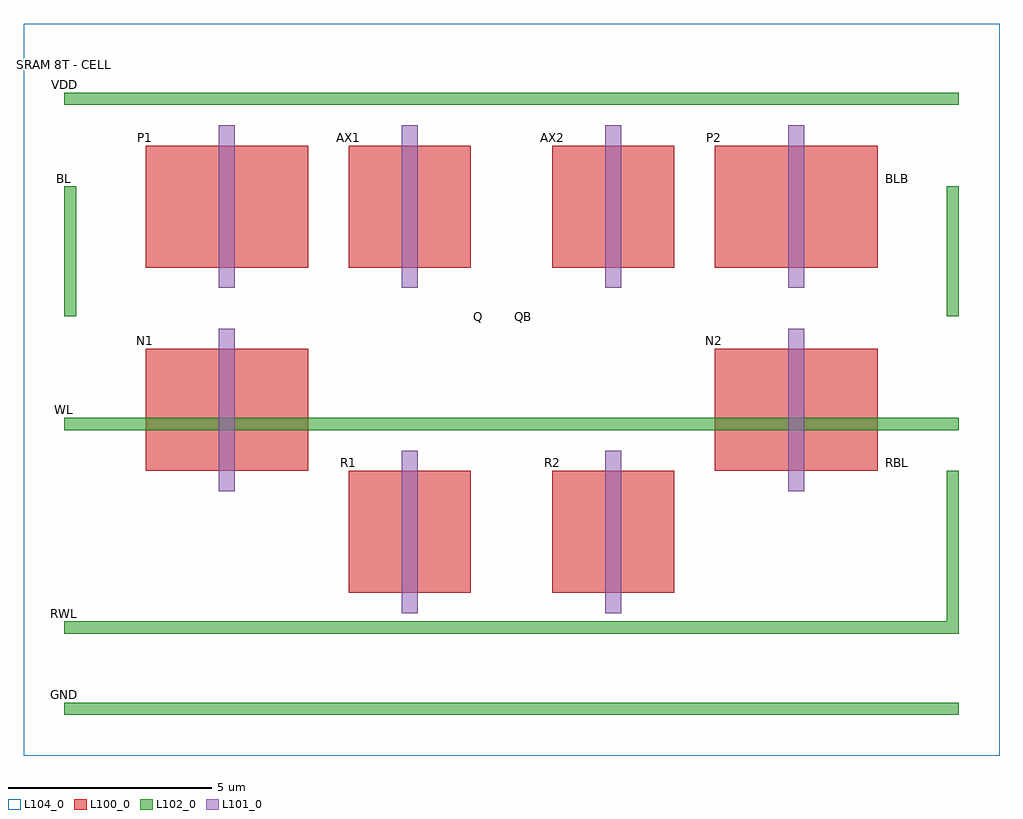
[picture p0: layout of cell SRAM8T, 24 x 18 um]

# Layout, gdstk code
import gdstk
lib = gdstk.Library(unit=1e-6, precision=1e-09)
def R(c, l, rs):  # rectangles x0, y0, x1, y1
    for r in rs: c.add(gdstk.rectangle(r[:2], r[2:], *l))
L100_0 = (100, 0)
L101_0 = (101, 0)
L102_0 = (102, 0)
L104_0 = (104, 0)

sram8t = lib.new_cell('SRAM8T')
R(sram8t, L100_0, [(8,4,11,7), (13,4,16,7), (3,7,7,10), (17,7,21,10), (3,12,7,15), (8,12,11,15), (13,12,16,15), (17,12,21,15)])
R(sram8t, L101_0, [(9.3,3.5,9.7,7.5), (14.3,3.5,14.7,7.5), (4.8,6.5,5.2,10.5), (18.8,6.5,19.2,10.5), (4.8,11.5,5.2,15.5), (9.3,11.5,9.7,15.5), (14.3,11.5,14.7,15.5), (18.8,11.5,19.2,15.5)])
R(sram8t, L102_0, [(1,1,23,1.3), (1,3,23,3.3), (22.7,3.3,23,7), (1,8,23,8.3), (1,10.8,1.3,14), (22.7,10.8,23,14), (1,16,23,16.3)])
R(sram8t, L104_0, [(0,0,24,18)])
sram8t.add(gdstk.Label('SRAM 8T - CELL', (1,17), layer=103, texttype=0))
sram8t.add(gdstk.Label('P1', (3,15.2), layer=103, texttype=0))
sram8t.add(gdstk.Label('N1', (3,10.2), layer=103, texttype=0))
sram8t.add(gdstk.Label('P2', (17,15.2), layer=103, texttype=0))
sram8t.add(gdstk.Label('N2', (17,10.2), layer=103, texttype=0))
sram8t.add(gdstk.Label('AX1', (8,15.2), layer=103, texttype=0))
sram8t.add(gdstk.Label('AX2', (13,15.2), layer=103, texttype=0))
sram8t.add(gdstk.Label('R1', (8,7.2), layer=103, texttype=0))
sram8t.add(gdstk.Label('R2', (13,7.2), layer=103, texttype=0))
sram8t.add(gdstk.Label('VDD', (1,16.5), layer=103, texttype=0))
sram8t.add(gdstk.Label('GND', (1,1.5), layer=103, texttype=0))
sram8t.add(gdstk.Label('BL', (1,14.2), layer=103, texttype=0))
sram8t.add(gdstk.Label('BLB', (21.5,14.2), layer=103, texttype=0))
sram8t.add(gdstk.Label('WL', (1,8.5), layer=103, texttype=0))
sram8t.add(gdstk.Label('RWL', (1,3.5), layer=103, texttype=0))
sram8t.add(gdstk.Label('RBL', (21.5,7.2), layer=103, texttype=0))
sram8t.add(gdstk.Label('Q', (11.2,10.8), layer=103, texttype=0))
sram8t.add(gdstk.Label('QB', (12.3,10.8), layer=103, texttype=0))

lib.write_gds('SRAM8T.gds')
